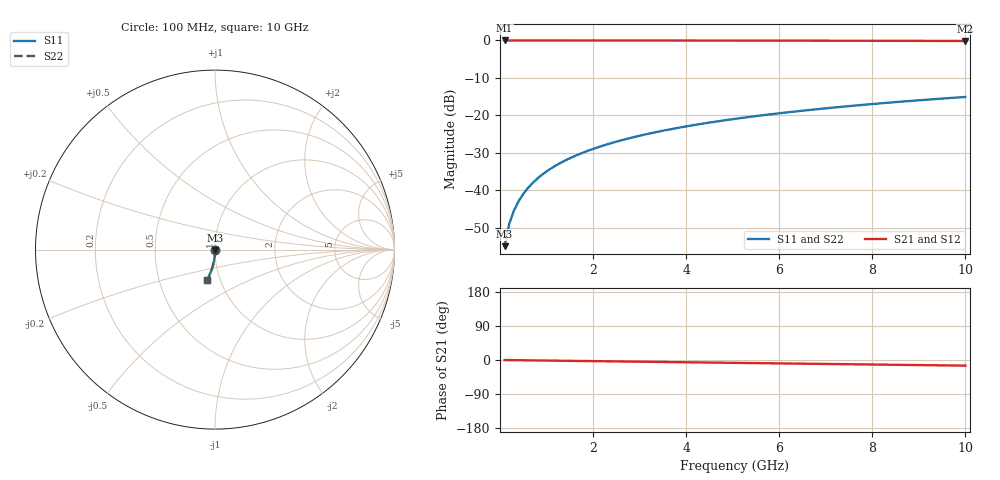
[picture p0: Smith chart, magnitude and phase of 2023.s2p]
# Hz S RI R 50.00
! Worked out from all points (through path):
!   100 points, 100 MHz to 10 GHz, reference 50 ohm
!   highest |S21| = 0.00 dB at 100 MHz (marker M1); lowest = -0.1 dB at 10 GHz (marker M2)
!   group delay of S21, straight-line fit = 4.14 ps
!   lowest |S11| = -55.0 dB at 100 MHz (marker M3), VSWR 1.00, Z = 50 - j0.178 ohm
!   |S11| at or under -10 dB: start of sweep to end of sweep
!   |S22| runs from -55.0 to -15.1 dB; largest |S21 - S12| = 0
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1e8  0.000177 -0.00178  0.9998 -0.0026  0.9998 -0.0026  0.000177 -0.00178
2e8  0.000162 -0.00356  0.9998 -0.00519  0.9998 -0.00519  0.000162 -0.00356
3e8  0.000138 -0.00533  0.9998 -0.00779  0.9998 -0.00779  0.000138 -0.00533
4e8  0.000104 -0.00711  0.9997 -0.0104  0.9997 -0.0104  0.000104 -0.00711
5e8  6.13e-05 -0.00889  0.9997 -0.013  0.9997 -0.013  6.13e-05 -0.00889
6e8  8.92e-06 -0.0107  0.9996 -0.0156  0.9996 -0.0156  8.92e-06 -0.0107
7e8  -5.27e-05 -0.0124  0.9996 -0.0182  0.9996 -0.0182  -5.27e-05 -0.0124
8e8  -0.000124 -0.0142  0.9995 -0.0208  0.9995 -0.0208  -0.000124 -0.0142
9e8  -0.000204 -0.016  0.9994 -0.0234  0.9994 -0.0234  -0.000204 -0.016
1.1e9  -0.000392 -0.0196  0.9992 -0.0286  0.9992 -0.0286  -0.000392 -0.0196
1.4e9  -0.000744 -0.0249  0.9988 -0.0364  0.9988 -0.0364  -0.000744 -0.0249
1.8e9  -0.00134 -0.032  0.9982 -0.0467  0.9982 -0.0467  -0.00134 -0.032
2.1e9  -0.00189 -0.0373  0.9976 -0.0545  0.9976 -0.0545  -0.00189 -0.0373
2.5e9  -0.00275 -0.0444  0.9967 -0.0649  0.9967 -0.0649  -0.00275 -0.0444
2.9e9  -0.00375 -0.0514  0.9956 -0.0752  0.9956 -0.0752  -0.00375 -0.0514
3.4e9  -0.00521 -0.0602  0.994 -0.0881  0.994 -0.0881  -0.00521 -0.0602
4.2e9  -0.00803 -0.0742  0.991 -0.1087  0.991 -0.1087  -0.00803 -0.0742
5.1e9  -0.0119 -0.0898  0.9868 -0.1317  0.9868 -0.1317  -0.0119 -0.0898
5.9e9  -0.0159 -0.1035  0.9825 -0.152  0.9825 -0.152  -0.0159 -0.1035
6.7e9  -0.0205 -0.1169  0.9775 -0.1721  0.9775 -0.1721  -0.0205 -0.1169
8.4e9  -0.0321 -0.1448  0.9651 -0.2142  0.9651 -0.2142  -0.0321 -0.1448
1e10  -0.0451 -0.1699  0.951 -0.2527  0.951 -0.2527  -0.0451 -0.1699
